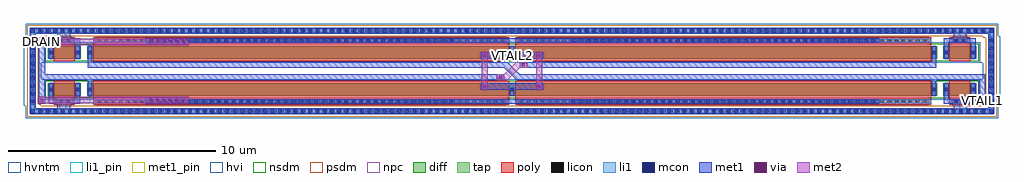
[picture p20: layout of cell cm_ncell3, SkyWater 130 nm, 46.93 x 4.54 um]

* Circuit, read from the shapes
.subckt cm_ncell3 DRAIN GNDA VTAIL1 VTAIL2
XM1 GNDA GNDA GNDA GNDA sky130_fd_pr__nfet_g5v0d10v5 w=0.6 l=1 m=4
XM2 VTAIL2 DRAIN DRAIN GNDA sky130_fd_pr__nfet_g5v0d10v5 w=0.6 l=20 m=2
XM3 VTAIL2 DRAIN VTAIL1 GNDA sky130_fd_pr__nfet_g5v0d10v5 w=0.6 l=20 m=2
.ends

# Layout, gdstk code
from math import pi, radians
import gdstk
lib = gdstk.Library(unit=1e-6, precision=1e-09)
def R(c, l, rs):  # rectangles x0, y0, x1, y1
    for r in rs: c.add(gdstk.rectangle(r[:2], r[2:], *l))
def A(c, l, x, y, w, h, nx, ny, dx, dy):  # array of equal rectangles
    R(c, l, [(x+i*dx, y+j*dy, x+i*dx+w, y+j*dy+h) for i in range(nx) for j in range(ny)])
def P(c, l, *ps):  # polygons
    for p in ps: c.add(gdstk.Polygon(p, *l))
diff = (65, 20)
tap = (65, 44)
poly = (66, 20)
licon = (66, 44)
li1_pin = (67, 16)
li1 = (67, 20)
mcon = (67, 44)
met1_pin = (68, 16)
met1 = (68, 20)
via = (68, 44)
met2 = (69, 20)
hvi = (75, 20)
nsdm = (93, 44)
psdm = (94, 20)
npc = (95, 20)
hvntm = (125, 20)

cross_pair = lib.new_cell('cross_pair')
R(cross_pair, met1, [(180.57,9.275,180.93,9.575), (181.53,9.275,182.015,9.45), (181.355,9.45,182.015,9.575), (181.23,9.575,181.355,9.875), (180.57,9.875,181.055,10.175), (181.655,9.875,182.015,10.175)])
P(cross_pair, met1, [(181.055,10.175),(181.055,9.875),(181.355,9.875)],
  [(180.93,9.875),(181.23,9.875),(181.23,9.575)],
  [(181.355,9.875),(181.355,9.575),(181.655,9.575)],
  [(181.23,9.575),(181.355,9.575),(181.355,9.45)],
  [(181.355,9.45),(181.53,9.45),(181.53,9.275)])
R(cross_pair, via, [(180.675,9.35,180.825,9.5), (181.76,9.95,181.91,10.1)])
R(cross_pair, met2, [(180.57,9.275,181.055,9.575), (181.23,9.575,181.355,9.875), (181.355,9.875,182.015,10), (181.53,10,182.015,10.175)])
P(cross_pair, met2, [(181.355,10),(181.53,10),(181.53,10.175)],
  [(181.23,9.875),(181.355,9.875),(181.355,10)],
  [(180.93,9.575),(181.23,9.575),(181.23,9.875)],
  [(181.355,9.575),(181.355,9.875),(181.655,9.875)],
  [(181.055,9.275),(181.055,9.575),(181.355,9.575)])

sky130_fd_pr__nfet_g5v0d = lib.new_cell('sky130_fd_pr__nfet_g5v0d10v5_UKZDTQ')
R(sky130_fd_pr__nfet_g5v0d, diff, [(-0.79,-0.455,0.79,0.145)])
R(sky130_fd_pr__nfet_g5v0d, poly, [(-0.5,-0.585,0.5,0.585)])
R(sky130_fd_pr__nfet_g5v0d, licon, [(-0.73,-0.24,-0.56,-0.07), (0.56,-0.24,0.73,-0.07), (-0.255,0.335,-0.085,0.505), (0.085,0.335,0.255,0.505)])
R(sky130_fd_pr__nfet_g5v0d, li1, [(-0.73,-0.475,-0.56,0.165), (0.56,-0.475,0.73,0.165), (-0.5,0.335,0.5,0.505)])
R(sky130_fd_pr__nfet_g5v0d, mcon, [(-0.73,-0.24,-0.56,-0.07), (0.56,-0.24,0.73,-0.07), (-0.265,0.335,-0.095,0.505), (0.095,0.335,0.265,0.505)])
R(sky130_fd_pr__nfet_g5v0d, met1, [(-0.76,-0.455,-0.53,0.145), (0.53,-0.455,0.76,0.145), (-0.375,0.305,0.375,0.535)])
R(sky130_fd_pr__nfet_g5v0d, hvi, [(-0.975,-0.64,0.975,0.33)])
R(sky130_fd_pr__nfet_g5v0d, nsdm, [(-0.915,-0.58,0.915,0.27)])
R(sky130_fd_pr__nfet_g5v0d, npc, [(-0.355,0.235,0.355,0.605)])
R(sky130_fd_pr__nfet_g5v0d, hvntm, [(-0.975,-0.64,0.975,0.33)])

c_sky130_fd_pr__nfet_g5v0d = lib.new_cell('sky130_fd_pr__nfet_g5v0d10v5_QBWG6Y')
R(c_sky130_fd_pr__nfet_g5v0d, diff, [(-10.29,-0.455,10.29,0.145)])
R(c_sky130_fd_pr__nfet_g5v0d, poly, [(-10,-0.585,10,0.585)])
A(c_sky130_fd_pr__nfet_g5v0d, licon, -9.775, 0.335, 0.17, 0.17, 58, 1, 0.34, 0)
R(c_sky130_fd_pr__nfet_g5v0d, licon, [(-10.23,-0.24,-10.06,-0.07), (10.06,-0.24,10.23,-0.07)])
R(c_sky130_fd_pr__nfet_g5v0d, li1, [(-10.23,-0.475,-10.06,0.165), (10.06,-0.475,10.23,0.165), (-10,0.335,10,0.505)])
A(c_sky130_fd_pr__nfet_g5v0d, mcon, -7.285, 0.335, 0.17, 0.17, 41, 1, 0.36, 0)
R(c_sky130_fd_pr__nfet_g5v0d, mcon, [(-10.23,-0.24,-10.06,-0.07), (10.06,-0.24,10.23,-0.07)])
R(c_sky130_fd_pr__nfet_g5v0d, met1, [(-10.26,-0.455,-10.03,0.145), (10.03,-0.455,10.26,0.145), (-7.5,0.305,7.5,0.535)])
R(c_sky130_fd_pr__nfet_g5v0d, hvi, [(-10.475,-0.64,10.475,0.33)])
R(c_sky130_fd_pr__nfet_g5v0d, nsdm, [(-10.415,-0.58,10.415,0.27)])
R(c_sky130_fd_pr__nfet_g5v0d, npc, [(-9.875,0.235,9.875,0.605)])
R(c_sky130_fd_pr__nfet_g5v0d, hvntm, [(-10.475,-0.64,10.475,0.33)])

cm_ncell3_2 = lib.new_cell('cm_ncell3_2')
R(cm_ncell3_2, tap, [(-2.51,-0.3,-2.21,1.485), (43.575,-0.3,43.875,1.485), (-2.51,1.485,43.875,1.785)])
R(cm_ncell3_2, li1, [(-2.445,-0.3,-2.275,1.55), (43.64,-0.3,43.81,1.55), (-2.445,1.55,43.81,1.72)])
R(cm_ncell3_2, met1, [(-2.51,-0.3,-2.21,1.485), (43.575,-0.3,43.875,1.485), (20.39,0.29,20.97,0.59), (-1.605,0.845,-1.405,0.89), (-0.315,0.845,-0.115,0.89), (41.475,0.845,41.675,0.89), (42.765,0.845,42.965,0.89), (-1.605,0.89,-1.375,1.05), (-0.315,0.89,-0.085,1.05), (41.445,0.89,41.675,1.05), (42.735,0.89,42.965,1.05), (36.235,0.95,38.295,1.25), (-1.605,1.05,-0.085,1.28), (18.035,1.05,23.325,1.28), (41.445,1.05,42.965,1.28), (-1.19,1.28,-0.56,1.485), (41.92,1.28,42.55,1.485), (-2.51,1.485,43.875,1.785)])
A(cm_ncell3_2, via, 36.39, 1.025, 0.15, 0.15, 6, 1, 0.32, 0)
R(cm_ncell3_2, met2, [(36.235,0.95,43.42,1.25)])
R(cm_ncell3_2, hvi, [(-2.78,-0.61,-1.94,0.105), (43.305,-0.61,44.145,0.105), (-2.78,0.105,-1.82,1.075), (43.18,0.105,44.145,1.075), (-2.78,1.075,44.145,1.3), (-2.695,1.3,44.06,1.97)])
R(cm_ncell3_2, nsdm, [(0.07,0.165,0.12,1.015), (41.24,0.165,41.29,1.015)])
R(cm_ncell3_2, psdm, [(-2.635,-0.425,-2.085,1.36), (43.45,-0.425,44,1.36), (-2.635,1.36,44,1.91)])
cm_ncell3_2.add(gdstk.Reference(sky130_fd_pr__nfet_g5v0d, (-0.845,0.745)))
cm_ncell3_2.add(gdstk.Reference(sky130_fd_pr__nfet_g5v0d, (42.205,0.745)))
cm_ncell3_2.add(gdstk.Reference(c_sky130_fd_pr__nfet_g5v0d, (10.535,0.745)))
cm_ncell3_2.add(gdstk.Reference(c_sky130_fd_pr__nfet_g5v0d, (30.825,0.745)))

cm_ncell3 = lib.new_cell('cm_ncell3')
R(cm_ncell3, tap, [(0.245,-2.03,45.9,-1.86), (-0.055,-1.73,0.115,1.71), (46.03,-1.73,46.2,1.71), (0.245,1.84,45.9,2.01)])
A(cm_ncell3, licon, 0.375, -2.03, 0.17, 0.17, 134, 2, 0.34, 3.87)
A(cm_ncell3, licon, -0.055, -1.625, 0.17, 0.17, 1, 10, 0, 0.34)
A(cm_ncell3, licon, 46.03, -1.625, 0.17, 0.17, 1, 10, 0, 0.34)
R(cm_ncell3, li1_pin, [(-0.055,1.84,0.115,2.01)])
R(cm_ncell3, li1, [(-0.055,-2.03,46.2,-1.86), (-0.055,-1.86,0.115,1.84), (46.03,-1.86,46.2,1.84), (-0.055,1.84,46.2,2.01)])
A(cm_ncell3, mcon, -0.055, -2.03, 0.17, 0.17, 128, 2, 0.36, 3.87)
A(cm_ncell3, mcon, -0.055, -1.535, 0.17, 0.17, 1, 9, 0, 0.36)
A(cm_ncell3, mcon, 46.03, -1.535, 0.17, 0.17, 1, 9, 0, 0.36)
R(cm_ncell3, mcon, [(46.03,-2.03,46.2,-1.86), (46.03,1.84,46.2,2.01)])
R(cm_ncell3, met1_pin, [(45.525,-1.59,45.825,-1.29), (22.925,0.58,23.225,0.88), (0.32,1.24,0.62,1.54)])
R(cm_ncell3, met1, [(-0.055,-2.03,46.2,-1.86), (-0.055,-1.86,0.115,1.84), (46.03,-1.86,46.2,1.84), (0.32,-1.59,0.62,-0.46), (45.525,-1.59,45.825,-0.46), (21.575,-0.9,24.565,-0.6), (2.67,-0.6,2.9,-0.46), (43.25,-0.6,43.48,-0.46), (0.32,-0.46,22.35,-0.16), (23.795,-0.46,45.825,-0.16), (0.32,-0.16,0.62,1.57), (2.67,0.14,22.35,0.44), (23.795,0.14,43.48,0.44), (2.67,0.44,2.9,0.58), (43.25,0.44,43.48,0.58), (21.58,0.58,24.565,0.88), (-0.055,1.84,46.2,2.01)])
R(cm_ncell3, via, [(0.395,-1.485,0.545,-1.335), (21.685,-0.825,21.835,-0.675), (24.31,-0.825,24.46,-0.675), (21.685,0.655,21.835,0.805), (24.31,0.655,24.46,0.805), (0.395,1.315,0.545,1.465)])
R(cm_ncell3, met2, [(0.29,-1.56,0.62,-1.26), (21.61,-0.93,21.91,0.91), (24.235,-0.93,24.535,0.91), (0.29,1.24,0.62,1.54)])
R(cm_ncell3, hvi, [(-0.24,-2.215,46.385,-1.675), (-0.39,-1.675,0.6,-1.375), (45.545,-1.675,46.535,-1.375), (-0.39,-1.375,0.45,1.355), (45.695,-1.375,46.535,1.355), (-0.39,1.355,0.6,1.655), (45.545,1.355,46.535,1.655), (-0.24,1.655,46.385,2.195)])
R(cm_ncell3, psdm, [(0.12,-2.155,46.025,-1.985), (-0.05,-1.985,46.195,-1.855), (-0.18,-1.855,46.325,-1.735), (-0.18,-1.735,0.41,-1.605), (45.735,-1.735,46.325,-1.605), (-0.18,-1.605,0.24,1.585), (45.905,-1.605,46.325,1.585), (-0.18,1.585,0.41,1.715), (45.735,1.585,46.325,1.715), (-0.18,1.715,46.325,1.835), (-0.05,1.835,46.195,1.965), (0.12,1.965,46.025,2.135)])
cm_ncell3.add(gdstk.Reference(cross_pair, (204.365,9.715), rotation=pi))
cm_ncell3.add(gdstk.Reference(cm_ncell3_2, (43.755,0.29), rotation=pi, x_reflection=True))
cm_ncell3.add(gdstk.Reference(cm_ncell3_2, (43.755,-0.31), rotation=pi))
cm_ncell3.add(gdstk.Label('VTAIL1', (45.675,-1.44), layer=68, texttype=5))
cm_ncell3.add(gdstk.Label('VTAIL2', (23.075,0.73), layer=68, texttype=5))
cm_ncell3.add(gdstk.Label('DRAIN', (0.47,1.39), layer=68, texttype=5))
cm_ncell3.add(gdstk.Label('GNDA', (0.03,1.925), layer=67, texttype=5))

lib.write_gds('cm_ncell3.gds')
